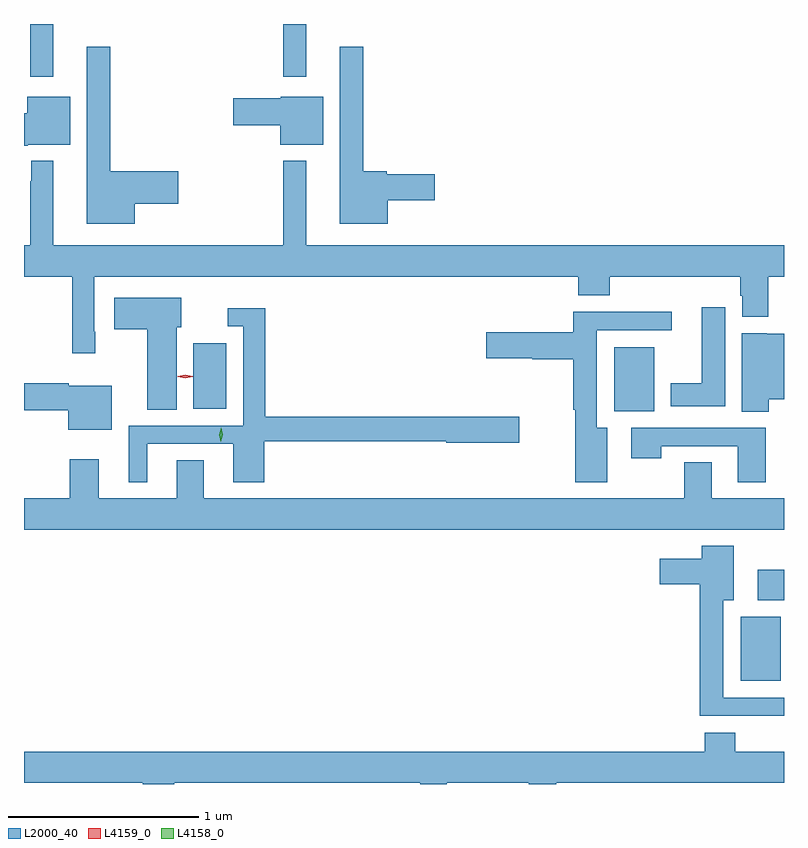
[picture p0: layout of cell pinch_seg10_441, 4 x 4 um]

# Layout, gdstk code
import gdstk
lib = gdstk.Library(unit=1e-6, precision=1e-09)
def R(c, l, rs):  # rectangles x0, y0, x1, y1
    for r in rs: c.add(gdstk.rectangle(r[:2], r[2:], *l))
def P(c, l, *ps):  # polygons
    for p in ps: c.add(gdstk.Polygon(p, *l))
L2000_40 = (2000, 40)
L4158_0 = (4158, 0)
L4159_0 = (4159, 0)

pinch_seg10_441 = lib.new_cell('pinch_seg10_441')
R(pinch_seg10_441, L2000_40, [(330.956,1303.517,331.168,1303.852), (331.047,1303.941,331.184,1304.101), (330.29,1304.936,330.502,1305.271), (328.076,1304.948,328.249,1305.292), (327.216,1306.695,327.337,1306.973), (328.548,1306.695,328.669,1306.973)])
P(pinch_seg10_441, L2000_40, [(329.098,1306.046),(329.347,1306.046),(329.347,1306.181),(329.094,1306.181),(329.094,1306.199),(328.969,1306.199),(328.969,1306.852),(328.847,1306.852),(328.847,1305.923),(329.098,1305.923)],
  [(327.766,1306.028),(327.997,1306.028),(327.997,1306.199),(327.637,1306.199),(327.637,1306.852),(327.515,1306.852),(327.515,1305.923),(327.766,1305.923)],
  [(327.204,1306.337),(327.427,1306.337),(327.427,1306.591),(327.2,1306.591),(327.2,1306.503),(327.184,1306.503),(327.184,1306.331),(327.204,1306.331)],
  [(328.759,1306.591),(328.536,1306.591),(328.536,1306.581),(328.284,1306.581),(328.284,1306.439),(328.532,1306.439),(328.532,1306.337),(328.759,1306.337)],
  [(327.56,1305.352),(327.555,1305.352),(327.555,1305.644),(330.101,1305.644),(330.101,1305.545),(330.266,1305.545),(330.266,1305.644),(330.953,1305.644),(330.953,1305.543),(330.965,1305.543),(330.965,1305.431),(331.101,1305.431),(331.101,1305.644),(331.184,1305.644),(331.184,1305.808),(328.669,1305.808),(328.669,1306.252),(328.548,1306.252),(328.548,1305.808),(327.337,1305.808),(327.337,1306.252),(327.223,1306.252),(327.223,1306.145),(327.216,1306.145),(327.216,1305.808),(327.184,1305.808),(327.184,1305.644),(327.439,1305.644),(327.439,1305.24),(327.56,1305.24)],
  [(327.988,1305.378),(328.012,1305.378),(328.012,1305.532),(327.66,1305.532),(327.66,1305.367),(327.833,1305.367),(327.833,1304.944),(327.988,1304.944)],
  [(330.874,1305.481),(330.752,1305.481),(330.752,1305.082),(330.587,1305.082),(330.587,1304.96),(330.874,1304.96)],
  [(327.832,1304.763),(328.286,1304.763),(328.286,1304.562),(328.448,1304.562),(328.448,1304.778),(329.406,1304.778),(329.406,1304.77),(329.791,1304.77),(329.791,1304.907),(329.506,1304.907),(329.506,1304.906),(328.454,1304.906),(328.454,1305.478),(328.257,1305.478),(328.257,1305.381),(328.338,1305.381),(328.338,1304.859),(327.734,1304.859),(327.734,1304.562),(327.832,1304.562)],
  [(330.253,1304.848),(330.199,1304.848),(330.199,1305.36),(330.592,1305.36),(330.592,1305.458),(330.074,1305.458),(330.074,1305.351),(329.616,1305.351),(329.616,1305.214),(329.859,1305.214),(329.859,1305.209),(330.074,1305.209),(330.074,1304.944),(330.086,1304.944),(330.086,1304.562),(330.253,1304.562)],
  [(331.104,1304.999),(331.184,1304.999),(331.184,1305.343),(331.092,1305.343),(331.092,1305.346),(330.962,1305.346),(330.962,1304.932),(331.104,1304.932)],
  [(327.646,1305.07),(327.42,1305.07),(327.42,1305.083),(327.184,1305.083),(327.184,1304.941),(327.416,1304.941),(327.416,1304.837),(327.646,1304.837)],
  [(331.089,1304.847),(330.381,1304.847),(330.381,1304.688),(330.537,1304.688),(330.537,1304.751),(330.941,1304.751),(330.941,1304.562),(331.089,1304.562)],
  [(331.184,1304.476),(330.805,1304.476),(330.805,1304.666),(330.658,1304.666),(330.658,1304.476),(328.129,1304.476),(328.129,1304.678),(327.989,1304.678),(327.989,1304.476),(327.577,1304.476),(327.577,1304.683),(327.425,1304.683),(327.425,1304.476),(327.184,1304.476),(327.184,1304.312),(331.184,1304.312)],
  [(331.184,1303.428),(330.865,1303.428),(330.865,1303.94),(330.919,1303.94),(330.919,1304.227),(330.752,1304.227),(330.752,1304.158),(330.531,1304.158),(330.531,1304.024),(330.74,1304.024),(330.74,1303.331),(331.184,1303.331)],
  [(327.974,1302.98),(329.27,1302.98),(329.27,1302.973),(329.41,1302.973),(329.41,1302.98),(329.84,1302.98),(329.84,1302.973),(329.984,1302.973),(329.984,1302.98),(331.184,1302.98),(331.184,1303.144),(330.927,1303.144),(330.927,1303.243),(330.767,1303.243),(330.767,1303.144),(327.184,1303.144),(327.184,1302.98),(327.809,1302.98),(327.809,1302.973),(327.974,1302.973)])
P(pinch_seg10_441, L4158_0, [(328.219,1304.775),(328.219,1304.775),(328.211,1304.811),(328.223,1304.847),(328.223,1304.847),(328.223,1304.847),(328.231,1304.81),(328.219,1304.775)])
P(pinch_seg10_441, L4159_0, [(328.032,1305.108),(327.992,1305.117),(327.992,1305.118),(327.992,1305.118),(328.032,1305.128),(328.072,1305.118),(328.072,1305.118),(328.072,1305.117)])

lib.write_gds('pinch_seg10_441.gds')
